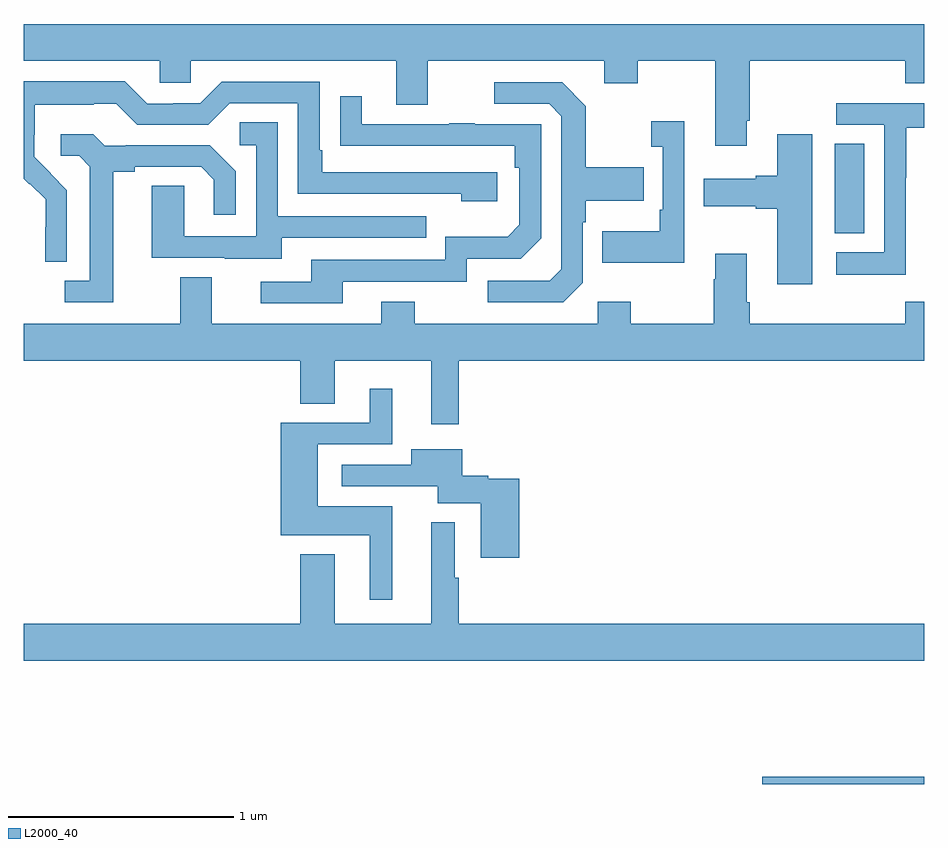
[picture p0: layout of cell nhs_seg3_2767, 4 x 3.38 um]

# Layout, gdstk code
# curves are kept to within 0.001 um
import gdstk
lib = gdstk.Library(unit=1e-6, precision=1e-09)
def R(c, l, rs):  # rectangles x0, y0, x1, y1
    for r in rs: c.add(gdstk.rectangle(r[:2], r[2:], *l))
def P(c, l, *ps):  # polygons
    for p in ps: c.add(gdstk.Polygon(p, *l))
L2000_40 = (2000, 40)

nhs_seg3_2767 = lib.new_cell('nhs_seg3_2767')
R(nhs_seg3_2767, L2000_40, [(258.281,668.4,259,668.432), (258.602,670.846,258.733,671.243)])
P(nhs_seg3_2767, L2000_40, [(258.211,671.347),(258.224,671.347),(258.224,671.612),(258.916,671.612),(258.916,671.513),(259,671.513),(259,671.776),(255,671.776),(255,671.612),(255.603,671.612),(255.603,671.514),(255.741,671.514),(255.741,671.612),(256.655,671.612),(256.655,671.418),(256.795,671.418),(256.795,671.612),(257.579,671.612),(257.579,671.513),(257.727,671.513),(257.727,671.612),(258.071,671.612),(258.071,671.235),(258.211,671.235)],
  [(255.192,671.038),(255.046,671.186),(255.046,671.283),(255.048,671.283),(255.048,671.417),(255.311,671.417),(255.311,671.421),(255.411,671.421),(255.504,671.328),(255.819,671.328),(255.915,671.424),(256.218,671.424),(256.218,671.022),(256.943,671.022),(256.943,670.988),(257.104,670.988),(257.104,671.118),(256.327,671.118),(256.327,671.215),(256.314,671.215),(256.314,671.52),(255.879,671.52),(255.783,671.424),(255.665,671.424),(255.665,671.421),(255.549,671.421),(255.449,671.521),(255,671.521),(255,671.088),(255.024,671.064),(255.027,671.067),(255.098,670.997),(255.098,670.874),(255.096,670.874),(255.096,670.72),(255.192,670.72)],
  [(257.484,670.626),(257.484,670.895),(257.497,670.895),(257.497,670.991),(257.753,670.991),(257.753,671.139),(257.497,671.139),(257.497,671.411),(257.391,671.517),(257.091,671.517),(257.091,671.421),(257.334,671.421),(257.388,671.367),(257.388,670.686),(257.337,670.635),(257.061,670.635),(257.061,670.539),(257.397,670.539)],
  [(256.417,670.632),(256.968,670.632),(256.968,670.734),(257.208,670.734),(257.298,670.824),(257.298,671.331),(257.003,671.331),(257.003,671.336),(256.891,671.336),(256.891,671.331),(256.501,671.331),(256.501,671.455),(256.405,671.455),(256.405,671.236),(257.182,671.235),(257.182,671.138),(257.202,671.138),(257.202,670.884),(257.149,670.831),(256.872,670.831),(256.872,670.728),(256.277,670.728),(256.277,670.632),(256.053,670.632),(256.053,670.536),(256.417,670.536)],
  [(258.918,671.092),(258.921,671.092),(258.921,671.316),(259,671.316),(259,671.424),(258.609,671.424),(258.609,671.328),(258.822,671.328),(258.822,670.761),(258.609,670.761),(258.609,670.663),(258.918,670.663)],
  [(257.934,671.344),(257.787,671.344),(257.787,671.231),(257.838,671.231),(257.838,670.951),(257.826,670.951),(257.826,670.855),(257.569,670.855),(257.569,670.715),(257.934,670.715)],
  [(256.147,670.827),(256.787,670.827),(256.787,670.923),(256.128,670.923),(256.128,671.339),(255.96,671.339),(255.96,671.238),(256.032,671.238),(256.032,670.833),(255.714,670.833),(255.714,671.057),(255.569,671.057),(255.569,670.737),(255.893,670.737),(255.893,670.733),(256.147,670.733)],
  [(258.502,671.287),(258.347,671.287),(258.347,671.102),(258.251,671.102),(258.251,671.089),(258.021,671.089),(258.021,670.967),(258.251,670.967),(258.251,670.955),(258.347,670.955),(258.347,670.62),(258.502,670.62)],
  [(255.397,671.12),(255.493,671.12),(255.493,671.142),(255.788,671.142),(255.845,671.085),(255.845,670.929),(255.942,670.929),(255.942,671.122),(255.826,671.238),(255.454,671.238),(255.454,671.235),(255.36,671.235),(255.308,671.287),(255.165,671.287),(255.165,671.19),(255.246,671.19),(255.293,671.143),(255.293,670.635),(255.183,670.635),(255.183,670.539),(255.397,670.539)],
  [(256.933,670.28),(259,670.28),(259,670.543),(258.916,670.543),(258.916,670.444),(258.224,670.444),(258.224,670.54),(258.211,670.54),(258.211,670.756),(258.071,670.756),(258.071,670.643),(258.064,670.643),(258.064,670.444),(257.697,670.444),(257.697,670.543),(257.55,670.543),(257.55,670.444),(256.737,670.444),(256.737,670.543),(256.589,670.543),(256.589,670.444),(255.835,670.444),(255.835,670.652),(255.695,670.652),(255.695,670.444),(255,670.444),(255,670.28),(256.229,670.28),(256.229,670.09),(256.381,670.09),(256.381,670.28),(256.811,670.28),(256.811,669.999),(256.933,669.999)],
  [(256.636,669.634),(256.306,669.634),(256.306,669.909),(256.636,669.909),(256.636,670.156),(256.538,670.156),(256.538,670.005),(256.142,670.005),(256.142,669.506),(256.538,669.506),(256.538,669.219),(256.636,669.219)],
  [(257.201,669.757),(257.064,669.757),(257.064,669.77),(256.948,669.77),(256.948,669.886),(256.721,669.886),(256.721,669.819),(256.413,669.819),(256.413,669.723),(256.838,669.723),(256.838,669.647),(257.03,669.647),(257.03,669.405),(257.201,669.405)],
  [(259,669.112),(256.933,669.112),(256.933,669.317),(256.915,669.317),(256.915,669.562),(256.811,669.562),(256.811,669.112),(256.381,669.112),(256.381,669.421),(256.229,669.421),(256.229,669.112),(255,669.112),(255,668.948),(259,668.948)])

lib.write_gds('nhs_seg3_2767.gds')
